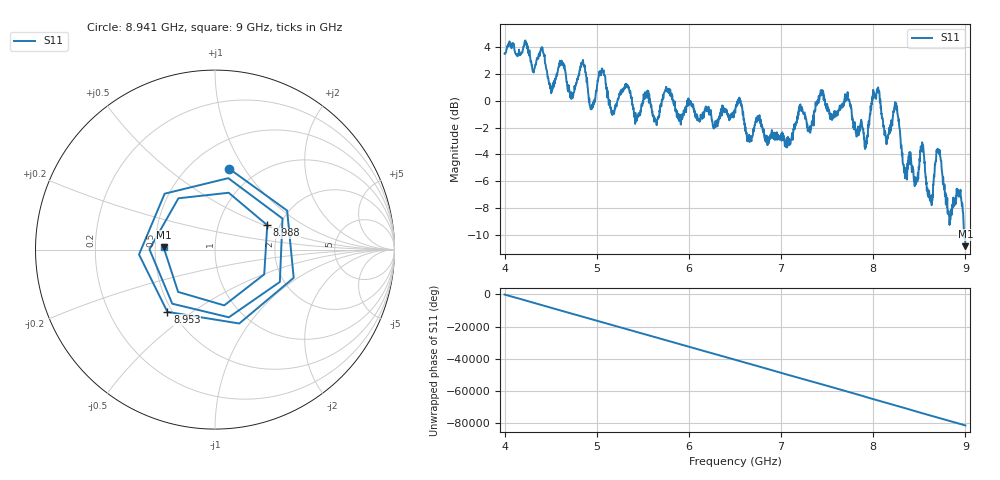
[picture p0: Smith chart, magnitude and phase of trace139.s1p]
! Created with skrf 1.8.0 (http://scikit-rf.org).
# Hz S RI R 50.0
!freq ReS11 ImS11
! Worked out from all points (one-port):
!   1601 points, 4 GHz to 9 GHz, reference 50 ohm
!   lowest |S11| = -10.8 dB at 9 GHz (marker M1), VSWR 1.80, Z = 27.7 + j0.79 ohm
!   |S11| at or under -10 dB: 8.989058 GHz to end of sweep
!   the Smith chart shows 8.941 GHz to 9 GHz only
!   S11 on the Smith chart (normalised r, x): 8.941 GHz: 0.75, +0.86; 8.953 GHz: 0.47, -0.40; 8.988 GHz: 1.72, +0.52; 9 GHz: 0.55, +0.02
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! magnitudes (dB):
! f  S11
! 4 GHz  3.5
! 4.409 GHz  4.0
! 4.509 GHz  0.8
! 4.625 GHz  2.9
! 4.731 GHz  0.2
! 4.856 GHz  2.7
! 4.941 GHz  -0.5
! 5.05 GHz  2.1
! 5.169 GHz  -1.1
! 5.25 GHz  0.5
! 5.875 GHz  -1.2
! 6.5 GHz  -0.7
! 7.125 GHz  -2.9
! 7.434 GHz  0.6
! 7.75 GHz  -0.4
! 7.916 GHz  -3.1
! 8.022 GHz  0.3
! 8.144 GHz  -3.2
! 8.244 GHz  -0.3
! 8.375 GHz  -5.1
! 8.534 GHz  -3.2
! 8.622 GHz  -7.4
! 8.709 GHz  -3.7
! 8.831 GHz  -8.9
! 8.941 GHz  -6.8
! 8.953 GHz  -7.2
! 8.988 GHz  -9.9
! 9 GHz  -10.8
